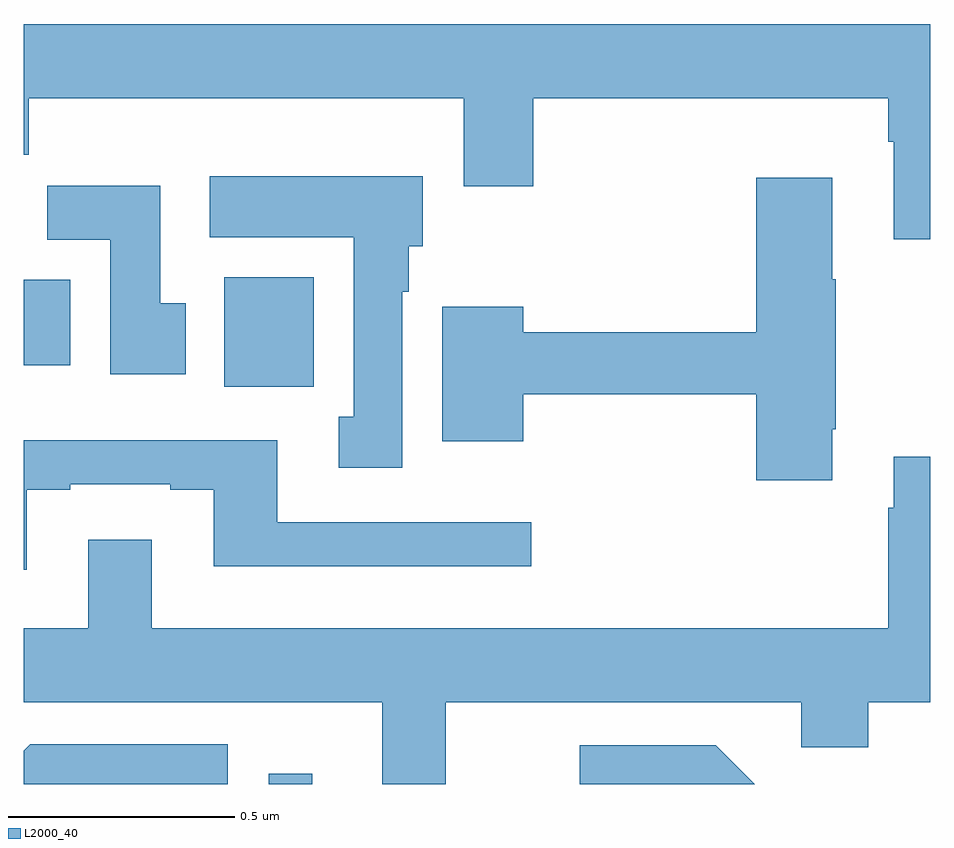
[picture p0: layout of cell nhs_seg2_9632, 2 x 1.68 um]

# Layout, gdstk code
import gdstk
lib = gdstk.Library(unit=1e-6, precision=1e-09)
def R(c, l, rs):  # rectangles x0, y0, x1, y1
    for r in rs: c.add(gdstk.rectangle(r[:2], r[2:], *l))
def P(c, l, *ps):  # polygons
    for p in ps: c.add(gdstk.Polygon(p, *l))
L2000_40 = (2000, 40)

nhs_seg2_9632 = lib.new_cell('nhs_seg2_9632')
R(nhs_seg2_9632, L2000_40, [(231.541,636.8,231.637,636.823), (231.443,637.676,231.64,637.918), (231,637.724,231.103,637.912)])
P(nhs_seg2_9632, L2000_40, [(233,638.476),(231,638.476),(231,638.188),(231.011,638.188),(231.011,638.312),(231.971,638.312),(231.971,638.118),(232.124,638.118),(232.124,638.312),(232.907,638.312),(232.907,638.216),(232.919,638.216),(232.919,638.001),(233,638.001)],
  [(231.835,637.886),(231.85,637.886),(231.85,637.986),(231.88,637.986),(231.88,638.14),(231.411,638.14),(231.411,638.006),(231.728,638.006),(231.728,637.61),(231.695,637.61),(231.695,637.497),(231.835,637.497)],
  [(232.783,637.582),(232.791,637.582),(232.791,637.913),(232.783,637.913),(232.783,638.137),(232.616,638.137),(232.616,637.796),(232.102,637.796),(232.102,637.852),(231.923,637.852),(231.923,637.556),(232.102,637.556),(232.102,637.66),(232.616,637.66),(232.616,637.47),(232.783,637.47)],
  [(231.358,637.86),(231.301,637.86),(231.301,638.119),(231.052,638.119),(231.052,638),(231.191,638),(231.191,637.704),(231.358,637.704)],
  [(231.007,637.449),(231.103,637.449),(231.103,637.461),(231.323,637.461),(231.323,637.449),(231.419,637.449),(231.419,637.28),(232.12,637.28),(232.12,637.377),(231.559,637.377),(231.559,637.558),(231,637.558),(231,637.272),(231.007,637.272)],
  [(231.931,636.98),(232.715,636.98),(232.715,636.881),(232.863,636.881),(232.863,636.98),(233,636.98),(233,637.522),(232.919,637.522),(232.919,637.409),(232.907,637.409),(232.907,637.144),(231.283,637.144),(231.283,637.339),(231.143,637.339),(231.143,637.144),(231,637.144),(231,636.98),(231.791,636.98),(231.791,636.8),(231.931,636.8)],
  [(231.45,636.888),(231.015,636.888),(231,636.873),(231,636.8),(231.45,636.8)],
  [(232.527,636.885),(232.227,636.885),(232.227,636.8),(232.612,636.8)])

lib.write_gds('nhs_seg2_9632.gds')
